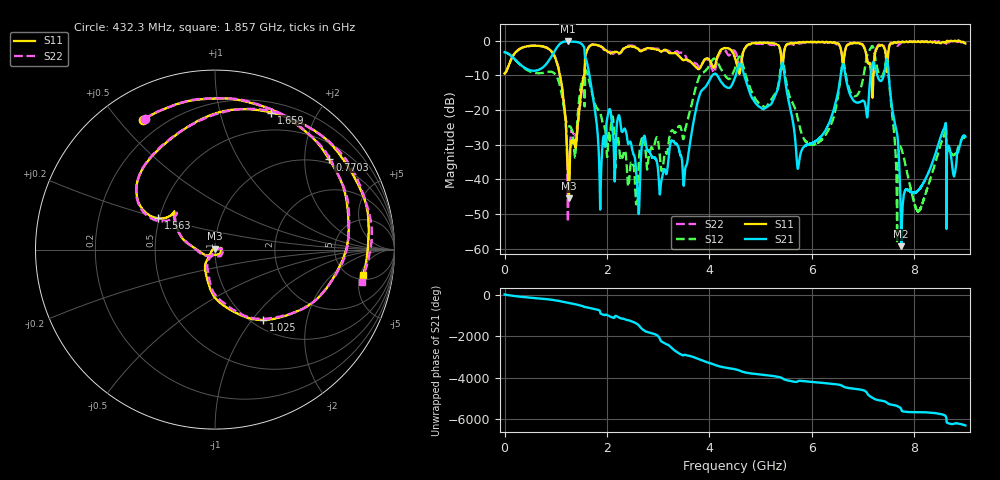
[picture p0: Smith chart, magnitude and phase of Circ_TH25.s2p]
# Hz S DB R 50
! CMT, SC5090, 24087134, 25.3.3/4
! Date: 14.11.2025 17:30:36
! Data: Format (Calibration Info)
! Freq	S11:dB/Ang(F2)	S21:dB/Ang(F2)	S12:dB/Ang(F2)	S22:dB/Ang(F2)
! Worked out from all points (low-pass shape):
!   9001 points, 300 kHz to 9 GHz, reference 50 ohm
!   highest |S21| = -0.25 dB at 1.232 GHz (marker M1); lowest = -59.2 dB at 7.748 GHz (marker M2)
!   |S21| within 3 dB of the highest: 969.6 MHz to 1.564 GHz (594.1 MHz wide, 46.9 % of centre)
!   lowest |S11| = -45.4 dB at 1.254 GHz (marker M3), VSWR 1.01, Z = 49.9 + j0.527 ohm
!   |S11| at or under -10 dB: 1.081 GHz to 1.56 GHz (479 MHz wide, 36.3 % of centre); 7.162 GHz to 7.203 GHz (41.21 MHz wide, 0.574 % of centre)
!   |S22| runs from -52.3 to -0.2 dB; largest |S21 - S12| = 1.1
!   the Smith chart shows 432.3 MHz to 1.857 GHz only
!   S11 on the Smith chart (normalised r, x): 432.3 MHz: 0.13, +0.58; 770.3 MHz: 0.89, +2.61; 1.025 GHz: 1.12, -1.14; 1.563 GHz: 0.49, +0.20; 1.659 GHz: 0.30, +1.45; 1.857 GHz: 5.88, -5.53
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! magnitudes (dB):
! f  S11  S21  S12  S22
! 300 kHz  -9.5  -3.4  -3.4  -9.4
! 432.3 MHz  -1.7  -8.2  -8.4  -1.6
! 770.3 MHz  -1.8  -7.4  -9.2  -1.8
! 1.025 GHz  -6.5  -1.9  -10.6  -6.5
! 1.232 GHz  -36.2  -0.2  -24.5  -46.0
! 1.254 GHz  -45.4  -0.3  -24.7  -37.3
! 1.5 GHz  -14.4  -0.9  -12.3  -14.7
! 1.563 GHz  -8.8  -3.1  -18.8  -9.3
! 1.659 GHz  -1.7  -10.2  -12.0  -1.6
! 1.857 GHz  -1.6  -41.0  -20.6  -1.5
! 2.046 GHz  -3.4  -19.8  -27.6  -3.3
! 2.569 GHz  -2.1  -37.6  -47.1  -1.9
! 3 GHz  -2.7  -37.7  -29.0  -2.4
! 4.5 GHz  -5.0  -10.7  -8.0  -3.1
! 5.433 GHz  -7.3  -6.6  -5.4  -6.3
! 5.727 GHz  -0.6  -36.9  -22.5  -1.1
! 6 GHz  -0.4  -29.5  -29.9  -0.5
! 6.609 GHz  -6.7  -6.8  -6.2  -5.8
! 7.5 GHz  -2.6  -9.6  -9.7  -2.3
! 7.748 GHz  -0.4  -59.2  -31.1  -0.6
! 8.082 GHz  -0.2  -43.1  -49.2  -0.2
! 9 GHz  -0.9  -27.7  -28.4  -0.5
